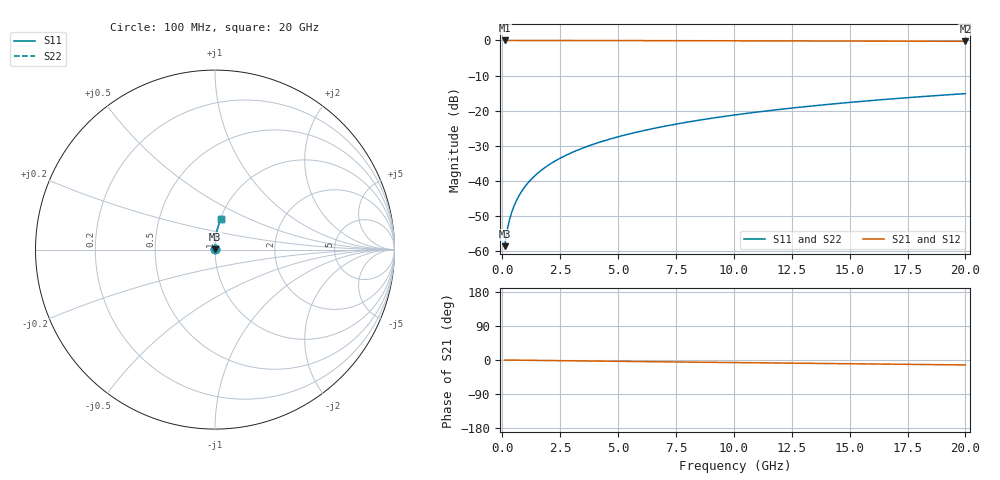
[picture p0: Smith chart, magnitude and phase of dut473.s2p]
! Touchstone file exported from HFSS 2024.1.0
!  File:  C:/UserFiles/LocalFiles/RDL_TSV_Batchsim/temp_RDL_top_473_1779678022.aedt
!  Generated:  11:02:31 AM May 25, 2026
!  Design:  RDL_top
!  Project:  temp_RDL_top_473_1779678022
!  Setup:  Setup1
!  Solution:  Sweep
! Variables:
!  dtsv = 10.80580581um
!  hbump = 3um
!  htsv = 59.66um
!  ldown = 100um
!  lrdl = 121.6um
!  p = 40
!  p1 = 57.59um
!  rhole = 1um
!  t = 450um
!  tdown = 3.915915916um
!  trdl = 4.23um
!  wdown = 15.38538539um
!  wrdl = 15.94um
# GHz S MA R 50.000000
! Terminal data exported
! Port[1] = Box2_T1
! Port[2] = Box2_T2
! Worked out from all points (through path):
!   200 points, 100 MHz to 20 GHz, reference 50 ohm
!   highest |S21| = -0.01 dB at 100 MHz (marker M1); lowest = -0.2 dB at 20 GHz (marker M2)
!   group delay of S21, straight-line fit = 1.8 ps
!   lowest |S11| = -58.6 dB at 100 MHz (marker M3), VSWR 1.00, Z = 50.1 + j0.0873 ohm
!   |S11| at or under -10 dB: start of sweep to end of sweep
!   |S22| runs from -58.6 to -15.1 dB; largest |S21 - S12| = 4.1e-15
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0.1  0.001179 47.6  0.9992 -0.1  0.9992 -0.1  0.001179 47.6
! Gamma 0 0 0 0
! Port Impedance 50 0 50 0
0.2  0.001914 64.7  0.9992 -0.1  0.9992 -0.1  0.001914 64.7
0.3  0.002712 71.9  0.9991 -0.2  0.9991 -0.2  0.002713 71.9
0.4  0.003525 75.8  0.9991 -0.3  0.9991 -0.3  0.003525 75.8
0.5  0.004343 78.3  0.9991 -0.4  0.9991 -0.4  0.004343 78.3
0.7  0.00599 81.3  0.999 -0.5  0.999 -0.5  0.00599 81.3
0.8  0.006817 82.3  0.999 -0.6  0.999 -0.6  0.006817 82.3
1  0.008477 83.7  0.9989 -0.7  0.9989 -0.7  0.008477 83.7
1.2  0.01014 84.6  0.9988 -0.9  0.9988 -0.9  0.01014 84.6
1.4  0.01181 85.3  0.9987 -1.0  0.9987 -1.0  0.01181 85.3
1.7  0.01433 86.0  0.9986 -1.2  0.9986 -1.2  0.01433 86.0
2  0.01685 86.4  0.9984 -1.4  0.9984 -1.4  0.01685 86.4
2.7  0.02276 87.1  0.9979 -1.9  0.9979 -1.9  0.02276 87.1
3.5  0.02957 87.4  0.9971 -2.5  0.9971 -2.5  0.02957 87.4
4.2  0.03557 87.4  0.9964 -3.0  0.9964 -3.0  0.03557 87.4
5  0.04248 87.3  0.9954 -3.5  0.9954 -3.5  0.04248 87.3
6.8  0.05821 86.9  0.993 -4.7  0.993 -4.7  0.05821 86.9
8.3  0.07149 86.2  0.9909 -5.7  0.9909 -5.7  0.07149 86.2
10.1  0.08752 85.3  0.9882 -6.9  0.9882 -6.9  0.08752 85.3
13.4  0.117 83.3  0.9831 -8.9  0.9831 -8.9  0.117 83.3
16.7  0.1462 81.1  0.9776 -11.0  0.9776 -11.0  0.1462 81.1
20  0.175 78.9  0.9717 -13.0  0.9717 -13.0  0.1749 78.9
